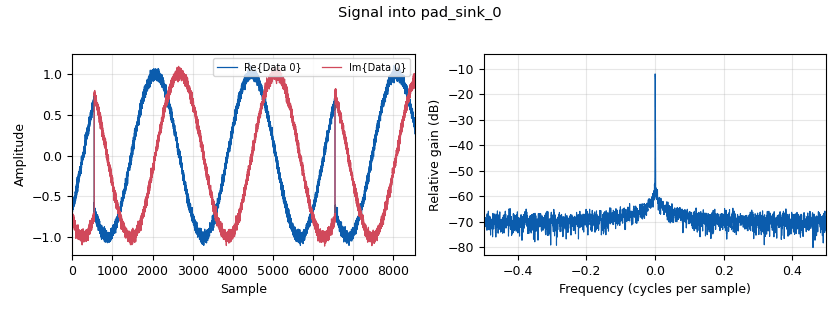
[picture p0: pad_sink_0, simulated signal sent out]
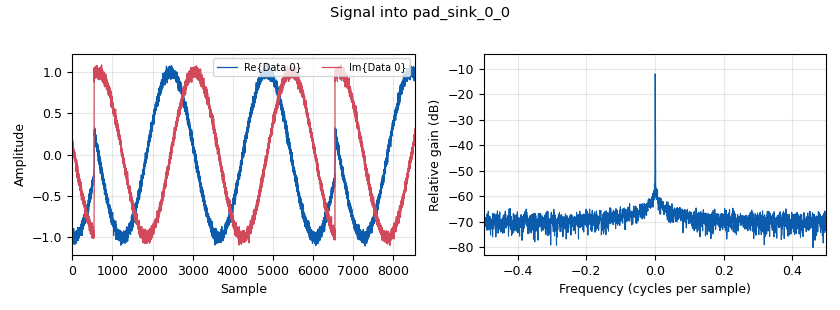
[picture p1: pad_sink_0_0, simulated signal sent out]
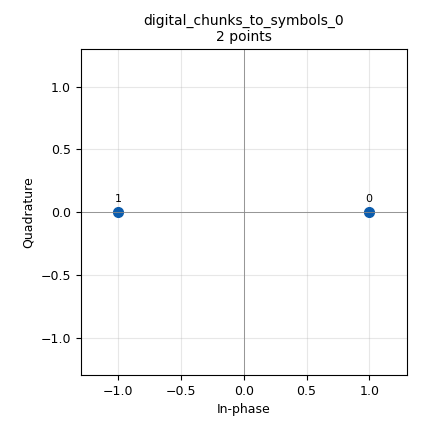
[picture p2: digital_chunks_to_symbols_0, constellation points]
options:
  parameters:
    author: GNU Radio DoA Simulator
    comment: Cospas-Sarsat 406MHz BPSK signal simulator with 5-channel KrakenSDR array and adjustable angle of incidence for DoA / direction finding.
    description: Cospas-Sarsat DoA Simulator
    generate_options: hb
    id: cospas_sarsat_doa
    output_language: python
    title: Cospas-Sarsat DoA Simulator (5-Channel KrakenSDR Sim)
  states: {}

blocks:
- name: radius_wl
  id: variable
  parameters:
    comment: Antenna radius in wavelengths (0.22m at 406.025 MHz)
    value: '0.298'
  states: {}
- name: beacon_bits
  id: variable
  parameters:
    comment: '144-bit Cospas-Sarsat frame: 15-bit preamble + sync + payload'
    value: '[0,0,0,0,0,0,0,0,0,0,0,0,0,0,0, 0,0,0,1,1,1,1, 0,1,0,0,0,0,0,1, 0,0,1,0,1,1,0,0,1,0,1,0, 0,1,0,1,0,1,0,1,0,1, 0,1,0,1,0,1,0,1,0,1, 0,1,0,1,0,1,0,1,0,1, 0,1,0,1,0,1,0,1,0,1, 0,1,0,1,0,1,0,1,0,1, 0,1,0,1,0,1,0,1,0,1, 1,0,1,0,1,0,1,0,1,0, 1,0,1,0,1,0,1,0,1,0, 1,0,1,0,1,0,1,0,1,0]'
  states: {}
- name: bit_rate
  id: variable
  parameters:
    value: '400'
  states: {}
- name: carrier_freq
  id: variable
  parameters:
    comment: Baseband carrier frequency in Hz
    value: '1000'
  states: {}
- name: noise_amp
  id: variable
  parameters:
    comment: Noise amplitude (0 = no noise, 0.3 = realistic)
    value: '0.05'
  states: {}
- name: phase0
  id: variable
  parameters:
    comment: Channel 0 phase shift (0 degrees)
    value: __import__('cmath').exp(1j * 2 * __import__('math').pi * radius_wl * __import__('math').cos(-__import__('math').radians(theta_deg) - 0))
  states: {}
- name: phase1
  id: variable
  parameters:
    comment: Channel 1 phase shift (72 degrees)
    value: __import__('cmath').exp(1j * 2 * __import__('math').pi * radius_wl * __import__('math').cos(-__import__('math').radians(theta_deg) - (2*__import__('math').pi/5)*1))
  states: {}
- name: phase2
  id: variable
  parameters:
    comment: Channel 2 phase shift (144 degrees)
    value: __import__('cmath').exp(1j * 2 * __import__('math').pi * radius_wl * __import__('math').cos(-__import__('math').radians(theta_deg) - (2*__import__('math').pi/5)*2))
  states: {}
- name: phase3
  id: variable
  parameters:
    comment: Channel 3 phase shift (216 degrees)
    value: __import__('cmath').exp(1j * 2 * __import__('math').pi * radius_wl * __import__('math').cos(-__import__('math').radians(theta_deg) - (2*__import__('math').pi/5)*3))
  states: {}
- name: phase4
  id: variable
  parameters:
    comment: Channel 4 phase shift (288 degrees)
    value: __import__('cmath').exp(1j * 2 * __import__('math').pi * radius_wl * __import__('math').cos(-__import__('math').radians(theta_deg) - (2*__import__('math').pi/5)*4))
  states: {}
- name: samp_rate
  id: variable
  parameters:
    value: '48000'
  states: {state: disabled}
- name: sps
  id: variable
  parameters:
    comment: Samples per symbol = samp_rate / bit_rate = 120
    value: int(samp_rate / bit_rate)
  states: {}
- name: theta_deg
  id: variable_qtgui_range
  parameters:
    comment: Angle of incidence in degrees (0=North, 90=East)
    gui_hint: 0,0,1,4
    label: Angle of Incidence (degrees)
    start: '-180'
    step: '1'
    stop: '180'
    value: '45'
  states: {state: disabled}
- name: analog_noise_source
  id: analog_noise_source_x
  parameters:
    amp: noise_amp
    comment: AWGN noise
    noise_type: analog.GR_GAUSSIAN
    seed: '0'
    type: complex
  states: {}
- name: analog_sig_source_carrier
  id: analog_sig_source_x
  parameters:
    amp: '1.0'
    comment: 406 MHz carrier (baseband sim at 10kHz)
    freq: carrier_freq
    offset: '0'
    phase: '0'
    samp_rate: samp_rate
    type: complex
    waveform: analog.GR_COS_WAVE
  states: {}
- name: blocks_add_noise
  id: blocks_add_xx
  parameters:
    comment: Add AWGN noise to signal
    type: complex
  states: {}
- name: blocks_float_to_complex_0
  id: blocks_float_to_complex
  parameters:
    comment: Convert BPSK float to complex
  states: {}
- name: blocks_multiply_ch0
  id: blocks_multiply_const_vxx
  parameters:
    comment: 'Channel 0: phase shift based on theta_deg'
    const: phase0
    type: complex
  states: {}
- name: blocks_multiply_ch1
  id: blocks_multiply_const_vxx
  parameters:
    comment: 'Channel 1: phase shift based on theta_deg'
    const: phase1
    type: complex
  states: {}
- name: blocks_multiply_ch2
  id: blocks_multiply_const_vxx
  parameters:
    comment: 'Channel 2: phase shift based on theta_deg'
    const: phase2
    type: complex
  states: {}
- name: blocks_multiply_ch3
  id: blocks_multiply_const_vxx
  parameters:
    comment: 'Channel 3: phase shift based on theta_deg'
    const: phase3
    type: complex
  states: {}
- name: blocks_multiply_ch4
  id: blocks_multiply_const_vxx
  parameters:
    comment: 'Channel 4: phase shift based on theta_deg'
    const: phase4
    type: complex
  states: {}
- name: blocks_multiply_xx_0
  id: blocks_multiply_xx
  parameters:
    num_inputs: '3'
    type: complex
  states: {}
- name: blocks_repeat_0
  id: blocks_repeat
  parameters:
    comment: Stretch symbol to sps samples (120)
    interp: sps
    type: float
  states: {}
- name: blocks_vector_source_x_0
  id: blocks_vector_source_x
  parameters:
    repeat: 'True'
    type: complex
    vector: '[complex(1,0)] * int(samp_rate * 0.5) + [complex(0,0)] * int(samp_rate * 5.0)'
  states: {}
- name: digital_chunks_to_symbols_0
  id: digital_chunks_to_symbols_xx
  parameters:
    comment: BPSK symbol mapping
    dimension: '1'
    in_type: byte
    out_type: float
    symbol_table: '[1,-1]'
  states: {}
- name: pad_sink_0
  id: pad_sink
  parameters:
    label: out2
    type: complex
  states: {}
- name: pad_sink_0_0
  id: pad_sink
  parameters:
    label: out3
    type: complex
  states: {}
- name: pad_sink_0_1
  id: pad_sink
  parameters:
    label: out4
    type: complex
  states: {}
- name: pad_sink_0_2
  id: pad_sink
  parameters:
    label: out1
    type: complex
  states: {}
- name: pad_sink_0_3
  id: pad_sink
  parameters:
    label: out5
    type: complex
  states: {}
- name: qtgui_freq_sink_0
  id: qtgui_freq_sink_x
  parameters:
    average: '0.2'
    bw: samp_rate
    comment: Spectrum of all 5 antenna channels
    fc: '0'
    fftsize: '1024'
    grid: 'True'
    gui_hint: 1,0,2,4
    label1: Ch0 (Ref)
    label2: Ch1
    label3: Ch2
    label4: Ch3
    label5: Ch4
    name: '"Cospas-Sarsat 406MHz - All Channels"'
    nconnections: '5'
    type: complex
  states: {state: disabled}
- name: qtgui_time_sink_0
  id: qtgui_time_sink_x
  parameters:
    color1: black
    comment: BPSK waveform - channel 0 reference
    grid: 'True'
    gui_hint: 3,0,2,4
    name: '"Cospas-Sarsat BPSK Waveform (Ch0)"'
    nconnections: '2'
    size: '1024'
    srate: samp_rate
    style2: '2'
    type: complex
    ymax: '2'
    ymin: '-2'
  states: {state: disabled}
- name: samp_rate
  id: parameter
  parameters:
    label: samp_rate
    value: '2400000'
  states: {}
- name: theta_deg
  id: parameter
  parameters:
    value: '45'
  states: {}
- name: vector_source_0
  id: blocks_vector_source_x
  parameters:
    comment: Cospas-Sarsat 144-bit frame, repeated
    repeat: 'True'
    type: byte
    vector: beacon_bits
  states: {}
- name: zeromq_pub_sink_ch0
  id: zeromq_pub_sink
  parameters:
    address: tcp://127.0.0.1:5555
    comment: ZMQ output channel 0 for DoA processor
    timeout: '100'
    type: complex
  states: {state: disabled}
- name: zeromq_pub_sink_ch1
  id: zeromq_pub_sink
  parameters:
    address: tcp://127.0.0.1:5556
    comment: ZMQ output channel 1
    timeout: '100'
    type: complex
  states: {state: disabled}
- name: zeromq_pub_sink_ch2
  id: zeromq_pub_sink
  parameters:
    address: tcp://127.0.0.1:5557
    comment: ZMQ output channel 2
    timeout: '100'
    type: complex
  states: {state: disabled}
- name: zeromq_pub_sink_ch3
  id: zeromq_pub_sink
  parameters:
    address: tcp://127.0.0.1:5558
    comment: ZMQ output channel 3
    timeout: '100'
    type: complex
  states: {state: disabled}
- name: zeromq_pub_sink_ch4
  id: zeromq_pub_sink
  parameters:
    address: tcp://127.0.0.1:5559
    comment: ZMQ output channel 4
    timeout: '100'
    type: complex
  states: {state: disabled}

connections:
- [analog_noise_source, '0', blocks_add_noise, '1']
- [analog_sig_source_carrier, '0', blocks_multiply_xx_0, '1']
- [blocks_add_noise, '0', blocks_multiply_ch0, '0']
- [blocks_add_noise, '0', blocks_multiply_ch1, '0']
- [blocks_add_noise, '0', blocks_multiply_ch2, '0']
- [blocks_add_noise, '0', blocks_multiply_ch3, '0']
- [blocks_add_noise, '0', blocks_multiply_ch4, '0']
- [blocks_float_to_complex_0, '0', blocks_multiply_xx_0, '0']
- [blocks_multiply_ch0, '0', pad_sink_0_2, '0']
- [blocks_multiply_ch0, '0', qtgui_freq_sink_0, '0']
- [blocks_multiply_ch0, '0', qtgui_time_sink_0, '0']
- [blocks_multiply_ch0, '0', zeromq_pub_sink_ch0, '0']
- [blocks_multiply_ch1, '0', pad_sink_0, '0']
- [blocks_multiply_ch1, '0', qtgui_freq_sink_0, '1']
- [blocks_multiply_ch1, '0', zeromq_pub_sink_ch1, '0']
- [blocks_multiply_ch2, '0', pad_sink_0_0, '0']
- [blocks_multiply_ch2, '0', qtgui_freq_sink_0, '2']
- [blocks_multiply_ch2, '0', zeromq_pub_sink_ch2, '0']
- [blocks_multiply_ch3, '0', pad_sink_0_1, '0']
- [blocks_multiply_ch3, '0', qtgui_freq_sink_0, '3']
- [blocks_multiply_ch3, '0', qtgui_time_sink_0, '1']
- [blocks_multiply_ch3, '0', zeromq_pub_sink_ch3, '0']
- [blocks_multiply_ch4, '0', pad_sink_0_3, '0']
- [blocks_multiply_ch4, '0', qtgui_freq_sink_0, '4']
- [blocks_multiply_ch4, '0', zeromq_pub_sink_ch4, '0']
- [blocks_multiply_xx_0, '0', blocks_add_noise, '0']
- [blocks_repeat_0, '0', blocks_float_to_complex_0, '0']
- [blocks_vector_source_x_0, '0', blocks_multiply_xx_0, '2']
- [digital_chunks_to_symbols_0, '0', blocks_repeat_0, '0']
- [vector_source_0, '0', digital_chunks_to_symbols_0, '0']

metadata:
  file_format: 1
